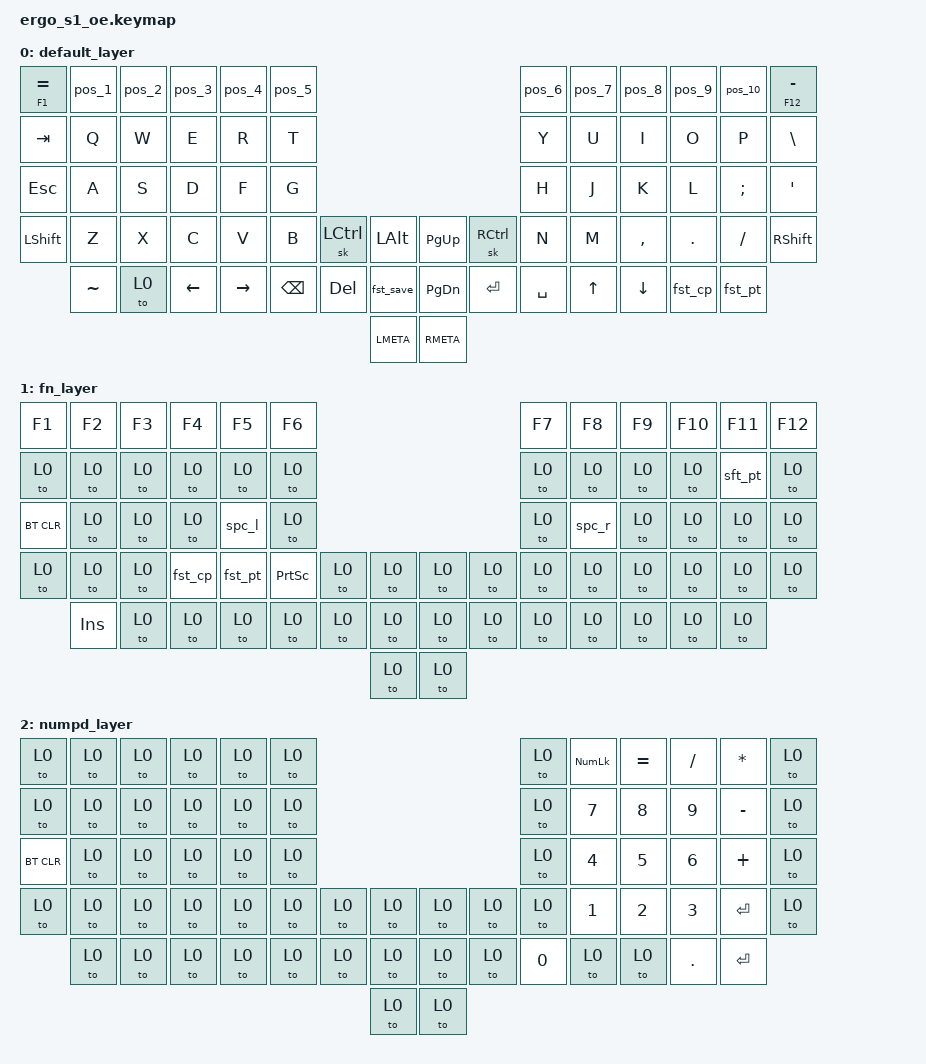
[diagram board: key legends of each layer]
/*
 * Copyright (c) 2021 The ZMK Contributors
 *
 * SPDX-License-Identifier: MIT
 */

#include <behaviors.dtsi>
#include <dt-bindings/zmk/keys.h>
#include <dt-bindings/zmk/bt.h>
#include <dt-bindings/zmk/ext_power.h>
#include <dt-bindings/zmk/outputs.h>

#define DEFAULT 0
#define FN      1
#define NUMPD   2
// #define EXTRA1  3

#define COMBO(NAME, BINDINGS, KEYPOS) \
  combo_##NAME { \
    timeout-ms = <275>; \
    bindings = <BINDINGS>; \
    key-positions = <KEYPOS>; \
    layers = <0>; \
  };

/ {
       // behavior-mod-morph's for the top row symbols.
       behaviors {
              pos_1: pos_1 {
                     label = "Grave | Exclamation";
                     compatible = "zmk,behavior-mod-morph";
                     #binding-cells = <0>;
                     bindings = <&mt F2 GRAVE>, <&mt N1 EXCL>;
                     mods = <(MOD_LGUI|MOD_LSFT|MOD_RGUI|MOD_RSFT|RSHFT)>;
              };
              pos_2: pos_2 {
                     label = "LBKT | AT_SIGN";
                     compatible = "zmk,behavior-mod-morph";
                     #binding-cells = <0>;
                     bindings = <&mt F3 LBKT>, <&mt N2 AT_SIGN>;
                     mods = <(MOD_LGUI|MOD_LSFT|MOD_RGUI|MOD_RSFT|RSHFT)>;
              };
              pos_3: pos_3 {
                     label = "LBRC | HASH";
                     compatible = "zmk,behavior-mod-morph";
                     #binding-cells = <0>;
                     bindings = <&mt F4 LBRC>, <&mt N3 HASH>;
                     mods = <(MOD_LGUI|MOD_LSFT|MOD_RGUI|MOD_RSFT|RSHFT)>;
              };
              pos_4: pos_4 {
                     label = "LPAR | DOLLAR";
                     compatible = "zmk,behavior-mod-morph";
                     #binding-cells = <0>;
                     bindings = <&mt F5 LPAR>, <&mt N4 DOLLAR>;
                     mods = <(MOD_LGUI|MOD_LSFT|MOD_RGUI|MOD_RSFT|RSHFT)>;
              };
              pos_5: pos_5 {
                     label = "HOME | PERCENT";
                     compatible = "zmk,behavior-mod-morph";
                     #binding-cells = <0>;
                     bindings = <&mt F6 HOME>, <&mt N5 PERCENT>;
                     mods = <(MOD_LGUI|MOD_LSFT|MOD_RGUI|MOD_RSFT|RSHFT)>;
              };
              pos_6: pos_6 {
                     label = "END | CARET";
                     compatible = "zmk,behavior-mod-morph";
                     #binding-cells = <0>;
                     bindings = <&mt F7 END>, <&mt N6 CARET>;
                     mods = <(MOD_LGUI|MOD_LSFT|MOD_RGUI|MOD_RSFT|RSHFT)>;
              };
              pos_7: pos_7 {
                     label = "RPAR | AMPERSAND";
                     compatible = "zmk,behavior-mod-morph";
                     #binding-cells = <0>;
                     bindings = <&mt F8 RPAR>, <&mt N7 AMPERSAND>;
                     mods = <(MOD_LGUI|MOD_LSFT|MOD_RGUI|MOD_RSFT|RSHFT)>;
              };
              pos_8: pos_8 {
                     label = "RBRC | ASTERISK";
                     compatible = "zmk,behavior-mod-morph";
                     #binding-cells = <0>;
                     bindings = <&mt F9 RBRC>, <&mt N8 ASTERISK>;
                     mods = <(MOD_LGUI|MOD_LSFT|MOD_RGUI|MOD_RSFT|RSHFT)>;
              };
              pos_9: pos_9 {
                     label = "RBKT | LPAR";
                     compatible = "zmk,behavior-mod-morph";
                     #binding-cells = <0>;
                     bindings = <&mt F10 RBKT>, <&mt N9 LPAR>;
                     mods = <(MOD_LGUI|MOD_LSFT|MOD_RGUI|MOD_RSFT|RSHFT)>;
              };
              pos_10_helper: pos_10_helper {
                     label = "pos_10_helper";
                     compatible = "zmk,behavior-hold-tap";
                     #binding-cells = <2>;
                     flavor = "hold-preferred";
                     tapping-term-ms = <400>;
                     quick-tap-ms = <200>;
                     bindings = <&kp>, <&jtbr_cmt>;
                     hold-trigger-key-positions = <1>;
              };
              pos_10: pos_10 {
                     label = "JetBrains Comment Combo | RPAR";
                     compatible = "zmk,behavior-mod-morph";
                     #binding-cells = <0>;
                     bindings = <&pos_10_helper F11 0>, <&mt N0 RPAR>;
                     mods = <(MOD_LGUI|MOD_LSFT|MOD_RGUI|MOD_RSFT|RSHFT)>;
              };
       };
       combos {
              compatible = "zmk,combos";
              // COMBO(zmk_studio_unlock,    &studio_unlock, 53 0)
              COMBO(go_to_function_layer, &tog FN, 53 54)
              COMBO(go_to_numpd_layer,    &tog NUMPD, 53 55)
              COMBO(bt_profile_one,       &bt BT_SEL 0, 53 1)
              COMBO(bt_profile_two,       &bt BT_SEL 1, 53 2)
              COMBO(bt_profile_three,     &bt BT_SEL 2, 53 3)
              COMBO(bt_profile_four,      &bt BT_SEL 3, 53 4)
              COMBO(bt_profile_five,      &bt BT_SEL 4, 53 5)
       };

       macros {
              fst_cp: fst_cp {
                     label = "single_key_copy";
                     compatible = "zmk,behavior-macro";
                     #binding-cells = <0>;
                     bindings
                            = <&macro_press &kp LCTRL>
                            , <&macro_tap &kp C>
                            , <&macro_release &kp LCTRL>
                            ;
              };
              fst_pt: fst_pt {
                     label = "single_key_paste";
                     compatible = "zmk,behavior-macro";
                     #binding-cells = <0>;
                     bindings
                            = <&macro_press &kp LCTRL>
                            , <&macro_tap &kp V>
                            , <&macro_release &kp LCTRL>
                            ;
              };
              fst_save: fst_save {
                     label = "single_key_save";
                     compatible = "zmk,behavior-macro";
                     #binding-cells = <0>;
                     bindings
                            = <&macro_press &kp LCTRL>
                            , <&macro_tap &kp S>
                            , <&macro_release &kp LCTRL>
                            ;
              };
              sft_pt: sft_pt {
                     label = "Paste with no formatting";
                     compatible = "zmk,behavior-macro";
                     #binding-cells = <0>;
                     bindings
                            = <&macro_press &kp LCTRL &kp LSHFT>
                            , <&macro_tap &kp V>
                            , <&macro_release &kp LCTRL &kp LSHFT>
                            ;
              };
              spc_l: spc_l {
                     label = "Change Virtual Desktop Left";
                     compatible = "zmk,behavior-macro";
                     #binding-cells = <0>;
                     bindings
                            = <&macro_press &kp LGUI &kp LCTRL>
                            , <&macro_tap &kp LEFT>
                            , <&macro_release &kp LGUI &kp LCTRL>
                            ;
              };
              spc_r: spc_r {
                     label = "Change Virtual Desktop Right";
                     compatible = "zmk,behavior-macro";
                     #binding-cells = <0>;
                     bindings
                            = <&macro_press &kp LGUI &kp LCTRL>
                            , <&macro_tap &kp RIGHT>
                            , <&macro_release &kp LGUI &kp LCTRL>
                            ;
              };
              jtbr_cmt: jtbr_cmt {
                     label = "JetBrains comment";
                     compatible = "zmk,behavior-macro";
                     #binding-cells = <0>;
                     bindings
                            = <&macro_press &kp LCTRL>
                            , <&macro_tap &kp SLASH>
                            , <&macro_release &kp LCTRL>
                            ;
              };
       };


       keymap {
              compatible = "zmk,keymap";
              default_layer {
// mod-tap & morph's will be used to access the standard top row symbols.
//     ----------------------------------------------------------------         ----------------------------------------------------------------
//     | EQL  | GRV  | LBKT | LBRC | LPAR | HOME |                                                   | END  | RPAR | RBRC | RBKT | CMNT | MINS |
//     | TAB  |  Q   |  W   |  E   |  R   |  T   |                                                   |  Y   |  U   |  I   |  O   |  P   | BSLS |
//     | ESC  |  A   |  S   |  D   |  F   |  G   |                                                   |  H   |  J   |  K   |  L   | SCLN | QUOT |
//     | SHFT |  Z   |  X   |  C   |  V   |  B   |      | CTL  | ALT  |         | PGUP | CTL  |      |  N   |  M   | COMM | DOT  | SLSH | SHFT |
//            | TLDE | ???  | LEFT | RGHT |      | BSPC | DEL  | SAVE |         | PGDN | ENT  | SPC  |      |  UP  |  DN  | COPY | PSTE |
//                                                             | WIN  |         | WIN  |
                     bindings = <
       &mt F1 EQUAL &pos_1  &pos_2   &pos_3   &pos_4    &pos_5                                                                    &pos_6    &pos_7    &pos_8    &pos_9     &pos_10      &mt F12 MINUS
       &kp TAB    &kp Q     &kp W    &kp E    &kp R     &kp T                                                                     &kp Y     &kp U     &kp I     &kp O      &kp P        &kp BSLH
       &kp ESC    &kp A     &kp S    &kp D    &kp F     &kp G                                                                     &kp H     &kp J     &kp K     &kp L      &kp SEMI     &kp APOS
       &kp LSHFT  &kp Z     &kp X    &kp C    &kp V     &kp B            &sk LCTRL  &kp LALT      &kp PG_UP &sk RCTRL             &kp N     &kp M     &kp COMMA &kp PERIOD &kp SLASH    &kp RSHFT
                  &kp TILDE &to 0    &kp LEFT &kp RIGHT        &kp BSPC  &kp DEL    &fst_save     &kp PG_DN &kp ENTER &kp SPACE             &kp UP    &kp DOWN  &fst_cp    &fst_pt
                                                                                    &kp LMETA     &kp RMETA
                     >;
              };
              fn_layer {
// (NOTE: replacing &trans layer with &to 0 "MOD" to reset to base layer reduce cognative load after using layer).
//     ----------------------------------------------------------------         ----------------------------------------------------------------
//     |  F1  |  F2  |  F3  |  F4  |  F5  |  F6  |                                                   |  F7  |  F8  |  F9  |  F10 |  F11 |  F12 |
//     |      |      |      |      |      |      |                                                   |      |      |      |      |      |      |
//     |BT_CLR|      |      |      |      |      |                                                   |      |      |      |      |      |      |
//     |      |      |      |      |      |PRTSCR|      |      |      |         |      |      |      |      |      |      |      |      |      |
//            |INSERT| MOD  |      |      |      |      |      |      |         |      |      |      |      |      |      |      |      |
//                                                             |      |         |      |
                     bindings = <
       &kp F1     &kp F2  &kp F3   &kp F4   &kp F5    &kp F6                                                                    &kp F7    &kp F8    &kp F9    &kp F10   &kp F11 &kp F12
       &to 0      &to 0   &to 0    &to 0    &to 0     &to 0                                                                     &to 0     &to 0     &to 0     &to 0     &sft_pt  &to 0
       &bt BT_CLR &to 0   &to 0    &to 0    &spc_l    &to 0                                                                     &to 0     &spc_r    &to 0     &to 0     &to 0    &to 0
       &to 0      &to 0   &to 0    &fst_cp  &fst_pt   &kp PSCRN           &to 0     &to 0         &to 0     &to 0               &to 0     &to 0     &to 0     &to 0     &to 0    &to 0
                  &kp INS &to 0    &to 0    &to 0               &to 0     &to 0     &to 0         &to 0     &to 0     &to 0               &to 0     &to 0     &to 0     &to 0
                                                                                    &to 0         &to 0
                     >;
              };
              numpd_layer {
//     ----------------------------------------------------------------         ----------------------------------------------------------------
//     |      |      |      |      |      |      |                                                   |      | NLCK |  =   |  /   |  *   |      |
//     |      |      |      |      |      |      |                                                   |      |  7   |  8   |  9   |  -   |      |
//     |BT_CLR|      |      |      |      |      |                                                   |      |  4   |  5   |  6   |  +   |      |
//     |      |      |      |      |      | PTSC |      |      |      |         |      |      |      |      |  1   |  2   |  3   | ENT  |      |
//            |      | MOD  |      |      |      |      |  FN  |      |         |      |      |  0   |      |      |      |  .   | ENT  |
//                                                             |      |         |      |
                     bindings = <
       &to 0      &to 0   &to 0    &to 0    &to 0     &to 0                                                                     &to 0     &kp KP_NUM &kp EQL   &kp SLASH &kp STAR  &to 0
       &to 0      &to 0   &to 0    &to 0    &to 0     &to 0                                                                     &to 0     &kp N7     &kp N8    &kp N9    &kp MINUS &to 0
       &bt BT_CLR &to 0   &to 0    &to 0    &to 0     &to 0                                                                     &to 0     &kp N4     &kp N5    &kp N6    &kp PLUS  &to 0
       &to 0      &to 0   &to 0    &to 0    &to 0     &to 0               &to 0     &to 0         &to 0     &to 0               &to 0     &kp N1     &kp N2    &kp N3    &kp ENTER &to 0
                  &to 0   &to 0    &to 0    &to 0               &to 0     &to 0     &to 0         &to 0     &to 0     &kp N0              &to 0      &to 0     &kp DOT   &kp ENTER
                                                                                    &to 0         &to 0
                     >;
              };
              // extra1 {
              //        status = "reserved";
              // };
       };
};
